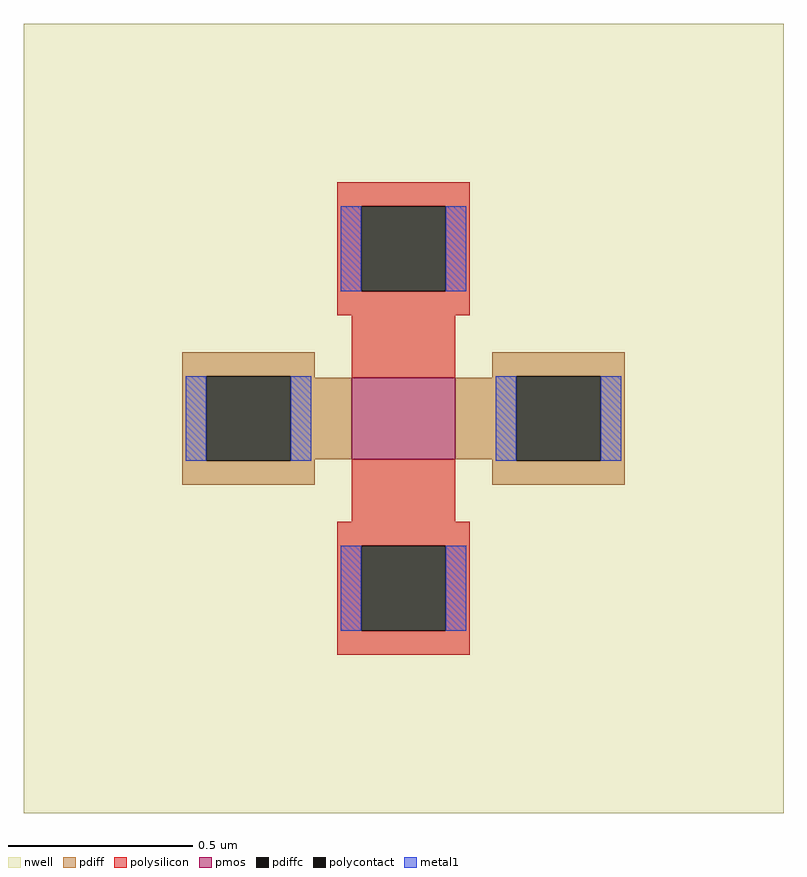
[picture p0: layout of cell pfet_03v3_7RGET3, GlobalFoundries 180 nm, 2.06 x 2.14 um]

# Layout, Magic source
magic
tech gf180mcuD
magscale 1 10
<< nwell >>
rect -206 -214 206 214
<< pmos >>
rect -28 -22 28 22
<< pdiff >>
rect -120 23 -48 36
rect -120 -23 -107 23
rect -61 22 -48 23
rect 48 23 120 36
rect 48 22 61 23
rect -61 -22 -28 22
rect 28 -22 61 22
rect -61 -23 -48 -22
rect -120 -36 -48 -23
rect 48 -23 61 -22
rect 107 -23 120 23
rect 48 -36 120 -23
<< pdiffc >>
rect -107 -23 -61 23
rect 61 -23 107 23
<< polysilicon >>
rect -36 115 36 128
rect -36 69 -23 115
rect 23 69 36 115
rect -36 56 36 69
rect -28 22 28 56
rect -28 -56 28 -22
rect -36 -69 36 -56
rect -36 -115 -23 -69
rect 23 -115 36 -69
rect -36 -128 36 -115
<< polycontact >>
rect -23 69 23 115
rect -23 -115 23 -69
<< metal1 >>
rect -34 69 -23 115
rect 23 69 34 115
rect -118 -23 -107 23
rect -61 -23 -50 23
rect 50 -23 61 23
rect 107 -23 118 23
rect -34 -115 -23 -69
rect 23 -115 34 -69
<< properties >>
string gencell pfet_03v3
string library gf180mcu
string parameters w 0.220 l 0.280 m 1 nf 1 diffcov 100 polycov 100 guard 0 glc 1 grc 1 gtc 0 gbc 0 tbcov 100 rlcov 100 topc 1 botc 1 poverlap 0 doverlap 1 lmin 0.28 wmin 0.22 class mosfet full_metal 1 compatible {pfet_03v3 pfet_06v0}
<< end >>
